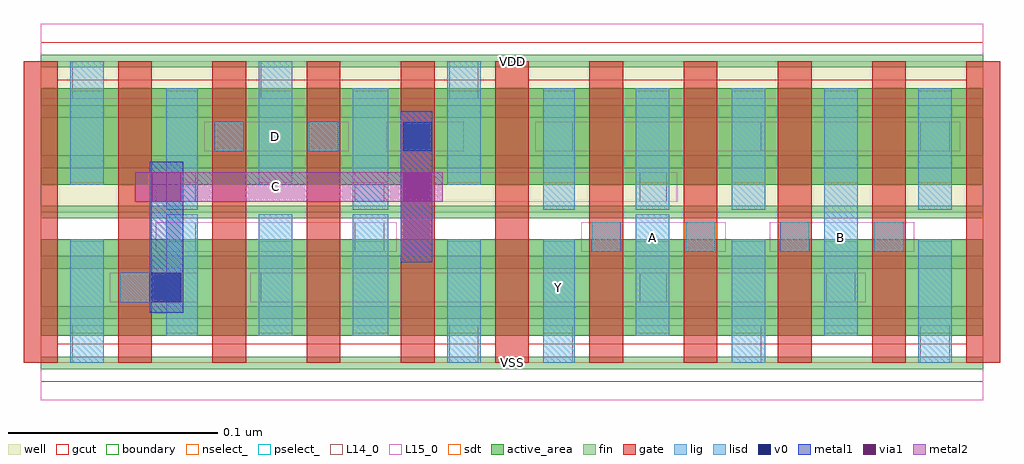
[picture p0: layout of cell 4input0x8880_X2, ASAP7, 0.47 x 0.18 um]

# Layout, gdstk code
import gdstk
lib = gdstk.Library(unit=1e-6, precision=1e-09)
def R(c, l, rs):  # rectangles x0, y0, x1, y1
    for r in rs: c.add(gdstk.rectangle(r[:2], r[2:], *l))
def A(c, l, x, y, w, h, nx, ny, dx, dy):  # array of equal rectangles
    R(c, l, [(x+i*dx, y+j*dy, x+i*dx+w, y+j*dy+h) for i in range(nx) for j in range(ny)])
def P(c, l, *ps):  # polygons
    for p in ps: c.add(gdstk.Polygon(p, *l))
well = (1, 0)
fin = (2, 0)
gate = (7, 0)
gcut = (10, 0)
active_area = (11, 0)
nselect_ = (12, 0)
pselect_ = (13, 0)
L14_0 = (14, 0)
L15_0 = (15, 0)
lig = (16, 0)
lisd = (17, 0)
v0 = (18, 0)
metal1 = (19, 0)
metal2 = (20, 0)
via1 = (21, 0)
sdt = (88, 0)
boundary = (100, 0)

c_4input0x8880_x2 = lib.new_cell('4input0x8880_X2')
R(c_4input0x8880_x2, well, [(0,0.072,0.45,0.144)])
A(c_4input0x8880_x2, fin, 0, -0.003, 0.45, 0.006, 1, 7, 0, 0.024)
A(c_4input0x8880_x2, gate, -0.008, 0, 0.016, 0.144, 11, 1, 0.045, 0)
P(c_4input0x8880_x2, gcut, [(0,-0.009),(0,0),(-0.008,0),(-0.008,0.135),(0.008,0.135),(0.008,0.009),(0.217,0.009),(0.217,0.135),(0.233,0.135),(0.233,0.009),(0.442,0.009),(0.442,0.135),(-0.008,0.135),(-0.008,0.144),(0,0.144),(0,0.153),(0.45,0.153),(0.45,0.144),(0.458,0.144),(0.458,0),(0.45,0),(0.45,-0.009)])
R(c_4input0x8880_x2, active_area, [(0,0.013,0.45,0.059), (0,0.085,0.45,0.131)])
R(c_4input0x8880_x2, nselect_, [(0,0,0.45,0.072)])
R(c_4input0x8880_x2, pselect_, [(0,0.072,0.45,0.144)])
A(c_4input0x8880_x2, L14_0, 0.24, 0, 0.014, 0.018, 3, 1, 0.09, 0)
A(c_4input0x8880_x2, L14_0, 0.263, 0.053, 0.014, 0.014, 4, 1, 0.045, 0)
A(c_4input0x8880_x2, L14_0, 0.083, 0.101, 0.014, 0.014, 3, 1, 0.045, 0)
A(c_4input0x8880_x2, L14_0, 0.24, 0.101, 0.014, 0.014, 3, 1, 0.09, 0)
R(c_4input0x8880_x2, L14_0, [(0.015,0,0.03,0.018), (0.195,0,0.209,0.018), (0.038,0.029,0.052,0.043), (0.105,0.029,0.12,0.043), (0.286,0.029,0.299,0.043), (0.375,0.029,0.389,0.043), (0.06,0.053,0.074,0.067), (0.15,0.053,0.164,0.067), (0.06,0.077,0.074,0.091), (0.15,0.077,0.164,0.091), (0.286,0.077,0.299,0.091), (0.015,0.126,0.03,0.144), (0.105,0.126,0.12,0.144), (0.195,0.126,0.209,0.144)])
R(c_4input0x8880_x2, L15_0, [(0,-0.018,0.45,0.018), (0.033,0.029,0.075,0.043), (0.1,0.029,0.394,0.043), (0.055,0.053,0.17,0.067), (0.258,0.053,0.327,0.067), (0.348,0.053,0.417,0.067), (0.055,0.077,0.304,0.091), (0.078,0.101,0.147,0.115), (0.165,0.101,0.202,0.115), (0.236,0.101,0.439,0.115), (0,0.126,0.45,0.162)])
A(c_4input0x8880_x2, lig, 0.263, 0.053, 0.014, 0.014, 4, 1, 0.045, 0)
A(c_4input0x8880_x2, lig, 0.083, 0.101, 0.014, 0.014, 3, 1, 0.045, 0)
R(c_4input0x8880_x2, lig, [(0.038,0.029,0.052,0.043)])
A(c_4input0x8880_x2, lisd, 0.014, 0.085, 0.016, 0.059, 3, 1, 0.09, 0)
R(c_4input0x8880_x2, lisd, [(0.014,0,0.03,0.059), (0.194,0,0.21,0.059), (0.24,0,0.255,0.059), (0.33,0,0.346,0.059), (0.419,0,0.435,0.059), (0.06,0.013,0.075,0.071), (0.104,0.013,0.12,0.071), (0.149,0.013,0.166,0.071), (0.284,0.013,0.3,0.071), (0.374,0.013,0.39,0.131), (0.06,0.073,0.075,0.131), (0.149,0.073,0.166,0.131), (0.24,0.073,0.255,0.131), (0.284,0.073,0.3,0.131), (0.33,0.073,0.346,0.131), (0.419,0.073,0.435,0.131)])
R(c_4input0x8880_x2, v0, [(0.053,0.029,0.067,0.043), (0.173,0.101,0.187,0.115)])
R(c_4input0x8880_x2, metal1, [(0.052,0.024,0.068,0.096), (0.172,0.048,0.187,0.12)])
R(c_4input0x8880_x2, metal2, [(0.045,0.077,0.192,0.091)])
R(c_4input0x8880_x2, via1, [(0.053,0.077,0.067,0.091), (0.173,0.077,0.187,0.091)])
A(c_4input0x8880_x2, sdt, 0.014, 0.014, 0.016, 0.044, 4, 2, 0.09, 0.072)
R(c_4input0x8880_x2, sdt, [(0.06,0.014,0.075,0.058), (0.149,0.014,0.166,0.058), (0.24,0.014,0.255,0.058), (0.33,0.014,0.346,0.058), (0.374,0.014,0.39,0.058), (0.419,0.014,0.435,0.058), (0.06,0.086,0.075,0.13), (0.149,0.086,0.166,0.13), (0.24,0.086,0.255,0.13), (0.33,0.086,0.346,0.13), (0.374,0.086,0.39,0.13), (0.419,0.086,0.435,0.13)])
R(c_4input0x8880_x2, boundary, [(0,0,0.45,0.144)])
c_4input0x8880_x2.add(gdstk.Label('D', (0.112,0.108), layer=15, texttype=251))
c_4input0x8880_x2.add(gdstk.Label('VSS', (0.225,0), layer=15, texttype=251))
c_4input0x8880_x2.add(gdstk.Label('VDD', (0.225,0.144), layer=15, texttype=251))
c_4input0x8880_x2.add(gdstk.Label('VSS', (0.225,0), layer=15, texttype=251))
c_4input0x8880_x2.add(gdstk.Label('VDD', (0.225,0.144), layer=15, texttype=251))
c_4input0x8880_x2.add(gdstk.Label('Y', (0.247,0.036), layer=15, texttype=251))
c_4input0x8880_x2.add(gdstk.Label('VSS', (0.225,0), layer=15, texttype=251))
c_4input0x8880_x2.add(gdstk.Label('VDD', (0.225,0.144), layer=15, texttype=251))
c_4input0x8880_x2.add(gdstk.Label('A', (0.292,0.06), layer=15, texttype=251))
c_4input0x8880_x2.add(gdstk.Label('VSS', (0.225,0), layer=15, texttype=251))
c_4input0x8880_x2.add(gdstk.Label('VDD', (0.225,0.144), layer=15, texttype=251))
c_4input0x8880_x2.add(gdstk.Label('B', (0.382,0.06), layer=15, texttype=251))
c_4input0x8880_x2.add(gdstk.Label('VSS', (0.225,0), layer=15, texttype=251))
c_4input0x8880_x2.add(gdstk.Label('VDD', (0.225,0.144), layer=15, texttype=251))
c_4input0x8880_x2.add(gdstk.Label('VSS', (0.225,0), layer=3, texttype=251))
c_4input0x8880_x2.add(gdstk.Label('VSS', (0.225,0), layer=3, texttype=251))
c_4input0x8880_x2.add(gdstk.Label('VSS', (0.225,0), layer=3, texttype=251))
c_4input0x8880_x2.add(gdstk.Label('VSS', (0.225,0), layer=3, texttype=251))
c_4input0x8880_x2.add(gdstk.Label('VSS', (0.225,0), layer=3, texttype=251))
c_4input0x8880_x2.add(gdstk.Label('VDD', (0.225,0.144), layer=1, texttype=251))
c_4input0x8880_x2.add(gdstk.Label('VDD', (0.225,0.144), layer=1, texttype=251))
c_4input0x8880_x2.add(gdstk.Label('VDD', (0.225,0.144), layer=1, texttype=251))
c_4input0x8880_x2.add(gdstk.Label('VDD', (0.225,0.144), layer=1, texttype=251))
c_4input0x8880_x2.add(gdstk.Label('VDD', (0.225,0.144), layer=1, texttype=251))
c_4input0x8880_x2.add(gdstk.Label('C', (0.112,0.084), layer=20, texttype=251))

lib.write_gds('4input0x8880_X2.gds')
